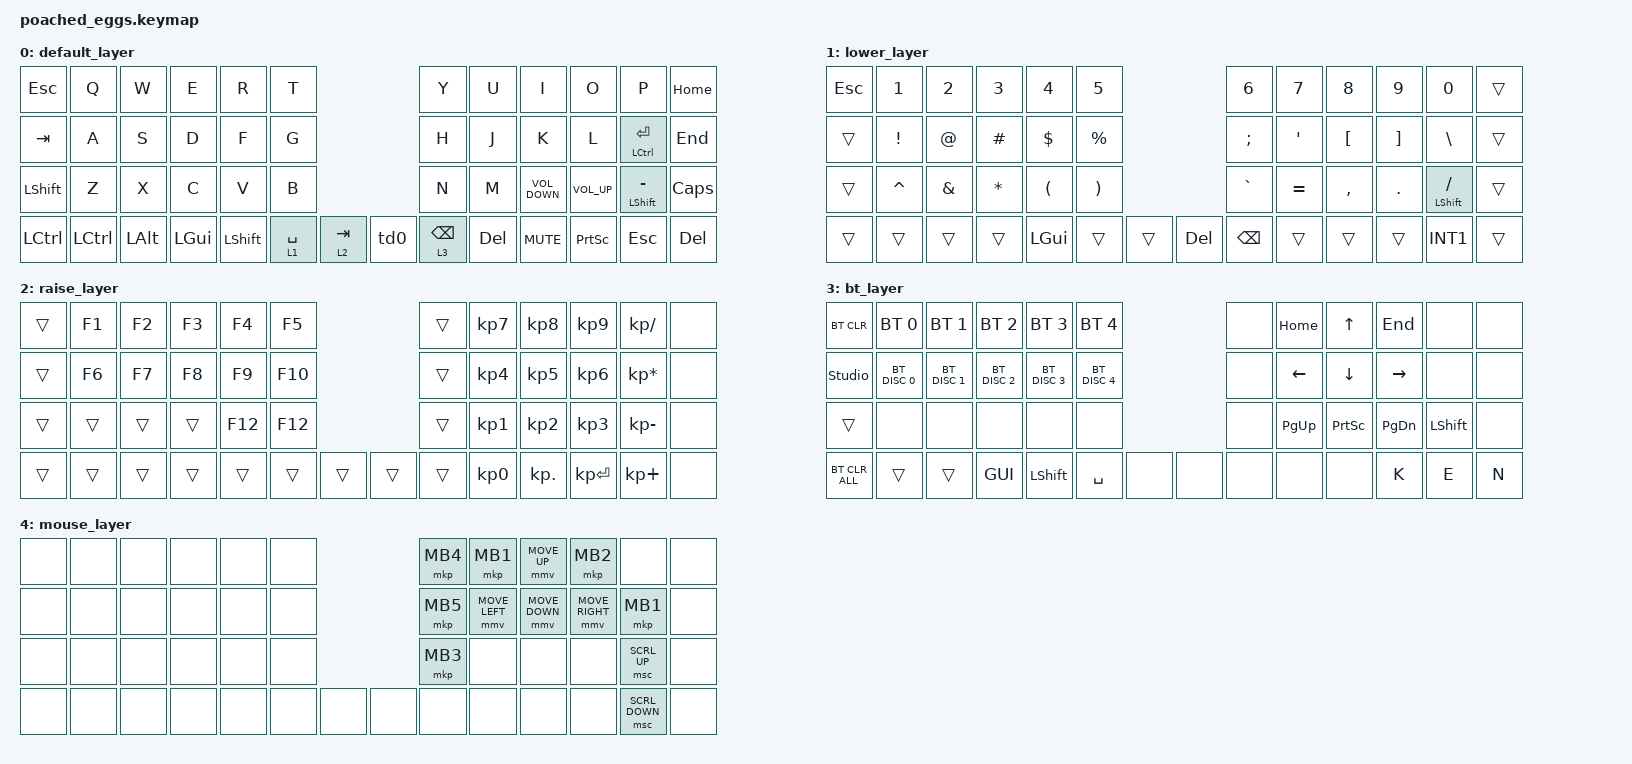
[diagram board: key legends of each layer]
#include <behaviors.dtsi>
#include <dt-bindings/zmk/keys.h>
#include <dt-bindings/zmk/bt.h>

#define ZMK_POINTING_DEFAULT_MOVE_VAL 2100
#define ZMK_POINTING_DEFAULT_SCRL_VAL 25
#include <dt-bindings/zmk/pointing.h>

/ {
    behaviors {
        td0: tap_dance_0 {
            compatible = "zmk,behavior-tap-dance";
            #binding-cells = <0>;
            tapping-term-ms = <200>;
            bindings = <&lt 4 LANG1>, <&kp LANG2>;
        };
    };

    combos {
      compatible = "zmk,combos";
      combo_SHFT {
        timeout-ms = <50>;
        key-positions = <14 25>;
        bindings = <&kp LSHFT>;
      };
    };


    keymap {
        compatible = "zmk,keymap";

        default_layer {
            bindings = <
                &kp ESC    &kp Q       &kp W       &kp E       &kp R       &kp T                                     &kp Y            &kp U           &kp I           &kp O           &kp P           &kp HOME
                &kp TAB    &kp A       &kp S       &kp D       &kp F       &kp G                                     &kp H            &kp J           &kp K           &kp L           &mt LCTRL RET   &kp END
                &kp LSHFT  &kp Z       &kp X       &kp C       &kp V       &kp B                                     &kp N            &kp M           &kp C_VOLUME_DOWN  &kp C_VOLUME_UP &mt LSHFT MINUS &kp CAPS
                &kp LCTRL  &kp LCTRL   &kp LALT    &kp LGUI    &kp LSHFT   &lt 1 SPACE   &lt 2 TAB        &td0       &lt 3 BSPC       &kp DEL         &kp C_MUTE         &kp PSCRN          &kp ESC         &kp DEL
            >;
        };

        lower_layer {
            bindings = <
                &kp ESC     &kp N1      &kp N2      &kp N3      &kp N4      &kp N5                              &kp N6      &kp N7      &kp N8      &kp N9      &kp N0      &trans
                &trans      &kp EXCL    &kp AT      &kp HASH    &kp DOLLAR  &kp PRCNT                           &kp SEMI    &kp SQT     &kp LBKT    &kp RBKT    &kp BSLH    &trans
                &trans      &kp CARET   &kp AMPS    &kp ASTRK   &kp LPAR    &kp RPAR                      &kp GRAVE   &kp EQUAL   &kp COMMA   &kp DOT     &mt LSHFT SLASH   &trans
                &trans      &trans      &trans      &trans      &kp LGUI       &trans      &trans     &kp DEL   &kp BSPC    &trans      &trans      &trans      &kp INT1    &trans
            >;
        };

        raise_layer {
            bindings = <
                 &trans     &kp F1      &kp F2      &kp F3      &kp F4      &kp F5                              &trans  &kp KP_NUMBER_7  &kp KP_NUMBER_8  &kp KP_NUMBER_9   &kp KP_DIVIDE    &none
                 &trans     &kp F6      &kp F7      &kp F8      &kp F9      &kp F10                             &trans  &kp KP_NUMBER_4  &kp KP_NUMBER_5  &kp KP_NUMBER_6   &kp KP_ASTERISK  &none
                 &trans     &trans      &trans      &trans      &kp F12     &kp F12                             &trans  &kp KP_NUMBER_1  &kp KP_NUMBER_2  &kp KP_NUMBER_3   &kp KP_MINUS     &none
                 &trans     &trans      &trans      &trans      &trans      &trans      &trans     &trans       &trans  &kp KP_NUMBER_0  &kp KP_DOT       &kp KP_ENTER      &kp KP_PLUS      &none
            >;
        };

        bt_layer {
            bindings = <
                &bt BT_CLR      &bt BT_SEL 0  &bt BT_SEL 1  &bt BT_SEL 2  &bt BT_SEL 3  &bt BT_SEL 4                         &none       &kp HOME    &kp UP      &kp END     &none       &none
                &studio_unlock  &bt BT_DISC 0 &bt BT_DISC 1 &bt BT_DISC 2 &bt BT_DISC 3 &bt BT_DISC 4                        &none       &kp LEFT    &kp DOWN    &kp RIGHT   &none       &none
                &trans          &none         &none         &none         &none         &none                                &none       &kp PG_UP   &kp PSCRN   &kp PG_DN   &kp LSHFT   &none
                &bt BT_CLR_ALL  &trans        &trans        &kp GUI       &kp LSHFT     &kp SPACE        &none    &none      &none       &none       &none       &kp K       &kp E       &kp N
            >;
        };

        mouse_layer {
            bindings = <
                &none           &none          &none           &none           &none        &none                                &mkp MB4       &mkp MB1       &mmv MOVE_UP    &mkp MB2        &none          &none
                &none           &none          &none           &none           &none        &none                                &mkp MB5       &mmv MOVE_LEFT &mmv MOVE_DOWN  &mmv MOVE_RIGHT &mkp MB1       &none
                &none           &none          &none           &none           &none        &none                                &mkp MB3       &none          &none           &none           &msc SCRL_UP   &none
                &none           &none          &none           &none           &none        &none   &none       &none            &none          &none          &none           &none           &msc SCRL_DOWN &none
            >;
        };
    };
};
